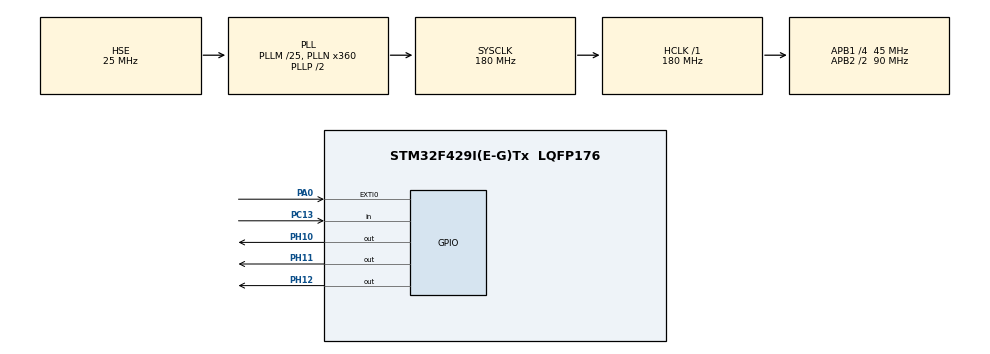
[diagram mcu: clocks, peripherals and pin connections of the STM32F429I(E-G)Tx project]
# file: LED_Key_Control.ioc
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Mcu.Family=STM32F4
Mcu.Name=STM32F429I(E-G)Tx
Mcu.Package=LQFP176
NVIC.EXTI0_IRQn=true\:0\:0\:false\:false\:true\:true\:true\:true
NVIC.PriorityGroup=NVIC_PRIORITYGROUP_4
PA0/WKUP.GPIO_PuPd=GPIO_PULLDOWN
PA0/WKUP.Signal=GPXTI0
PA13.Mode=Serial_Wire
PA13.Signal=SYS_JTMS-SWDIO
PA14.Mode=Serial_Wire
PA14.Signal=SYS_JTCK-SWCLK
PC13.GPIO_PuPd=GPIO_PULLDOWN
PC13.Signal=GPIO_Input
PH0/OSC_IN.Mode=HSE-External-Oscillator
PH0/OSC_IN.Signal=RCC_OSC_IN
PH1/OSC_OUT.Mode=HSE-External-Oscillator
PH1/OSC_OUT.Signal=RCC_OSC_OUT
PH10.PinState=GPIO_PIN_SET
PH10.Signal=GPIO_Output
PH11.PinState=GPIO_PIN_SET
PH11.Signal=GPIO_Output
PH12.PinState=GPIO_PIN_SET
PH12.Signal=GPIO_Output
ProjectManager.HeapSize=0x200
ProjectManager.StackSize=0x400
ProjectManager.TargetToolchain=MDK-ARM V5.32
RCC.48MHZClocksFreq_Value=90000000
RCC.AHBFreq_Value=180000000
RCC.APB1CLKDivider=RCC_HCLK_DIV4
RCC.APB1Freq_Value=45000000
RCC.APB1TimFreq_Value=90000000
RCC.APB2CLKDivider=RCC_HCLK_DIV2
RCC.APB2Freq_Value=90000000
RCC.APB2TimFreq_Value=180000000
RCC.CortexFreq_Value=180000000
RCC.HCLKFreq_Value=180000000
RCC.HSE_VALUE=25000000
RCC.HSI_VALUE=16000000
RCC.LSE_VALUE=32768
RCC.PLLM=25
RCC.PLLN=360
RCC.PLLSourceVirtual=RCC_PLLSOURCE_HSE
RCC.SYSCLKFreq_VALUE=180000000
RCC.SYSCLKSource=RCC_SYSCLKSOURCE_PLLCLK
RCC.VCOOutputFreq_Value=360000000
board=custom

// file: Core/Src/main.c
/* USER CODE BEGIN Header */
/**
 ******************************************************************************
 * @file           : main.c
 * @brief          : Main program body
 ******************************************************************************
 * @attention
 *
 * Copyright (c) 2026 STMicroelectronics.
 * All rights reserved.
 *
 * This software is licensed under terms that can be found in the LICENSE file
 * in the root directory of this software component.
 * If no LICENSE file comes with this software, it is provided AS-IS.
 *
 ******************************************************************************
 */
/* USER CODE END Header */
#include "main.h"

/* USER CODE BEGIN PV */
volatile uint32_t exti_cnt = 0; /* 外部中断计数 */
volatile uint8_t paused = 0;

/* ---- LED 引脚定义（共阳极：输出低=亮，输出高=灭） ---- */
#define LED_R_Pin GPIO_PIN_10
#define LED_R_Port GPIOH
#define LED_G_Pin GPIO_PIN_11
#define LED_G_Port GPIOH
#define LED_B_Pin GPIO_PIN_12
#define LED_B_Port GPIOH

/* ---- 按键定义（KEY1 = PA0，按下读回 1） ---- */
#define KEY1_Port GPIOA
#define KEY1_Pin GPIO_PIN_0

/* ---- 按键扫描状态 ---- */
// uint8_t  key_state = 0;   /* 0=等待按下  1=消抖计时  2=等待松开 */
// uint32_t key_tick  = 0;   /* 消抖计时用的时刻 */
/*-----暂停指示符定义-----*/
// uint8_t paused = 0;
/* USER CODE END PV */

void SystemClock_Config(void);
static void MX_GPIO_Init(void);

/* USER CODE BEGIN 0 */

/* 三盏灯全灭（共阳极：引脚拉高 = 灭） */
void LED_AllOff(void) {
    GPIOH->BSRR = (1u << 10) | (1u << 11) | (1u << 12);
}

/* 按键扫描：轮询 + 软件消抖（不阻塞主循环） */
// void Key_Scan(void)
//{
//     uint8_t now = HAL_GPIO_ReadPin(KEY1_Port, KEY1_Pin);

//    if (key_state == 0) {                 /* 等待按下 */
//        if (now == 1) {
//            key_state = 1;
//            key_tick  = HAL_GetTick();
//        }
//    }
//    else if (key_state == 1) {            /* 消抖计时 */
//        if (HAL_GetTick() - key_tick > 20) {
//            if (now == 1) {               /* 确认按下：这里才是"按键动作" */
//                key_state = 2;
//							paused = !paused;           /*改变“暂停指示符”*/

//            } else {
//                key_state = 0;            /* 是抖动，忽略 */
//            }
//        }
//    }
//    else if (key_state == 2) {            /* 等待松开 */
//        if (now == 0) key_state = 0;
//    }
//}

/* USER CODE END 0 */

int main(void) {

    /* USER CODE BEGIN 1 */
    uint32_t last_change = 0; /* 上次换色的时刻 (ms) */
    uint8_t step = 0;         /* 当前颜色: 0=红 1=绿 2=蓝 */
    /* USER CODE END 1 */

    /* MCU Configuration--------------------------------------------------------*/

    /* Reset of all peripherals, Initializes the Flash interface and the Systick. */
    HAL_Init();

    /* Configure the system clock */
    SystemClock_Config();

    /* Initialize all configured peripherals */
    MX_GPIO_Init();
    /* USER CODE BEGIN 2 */

    LED_AllOff(); /* 开机先全灭 */

    /* USER CODE END 2 */

    /* Infinite loop */
    while (1) {

        /* USER CODE BEGIN 3 */
        /* 非阻塞换色：每 1000ms 换一次 */
        if (paused) {
            last_change = HAL_GetTick();
        } else if (HAL_GetTick() - last_change >= 1000) {
            last_change = HAL_GetTick();
            step++;
            if (step >= 3)
                step = 0;

            switch (step) {
            case 0:
                GPIOH->BSRR = (1u << (10 + 16)) | (1u << (11)) | (1u << (12));
                break; /* 红 */
            case 1:
                GPIOH->BSRR = (1u << (10)) | (1u << (11 + 16)) | (1u << (12));
                break; /* 绿 */
            case 2:
                GPIOH->BSRR = (1u << (10)) | (1u << (11)) | (1u << (12 + 16));
                break; /* 蓝 */
            }
        }

        /* 控制"暂停" */
        //     Key_Scan();
    }

    /* USER CODE END 3 */
}

void SystemClock_Config(void) {
    RCC_OscInitTypeDef RCC_OscInitStruct = {0};
    RCC_ClkInitTypeDef RCC_ClkInitStruct = {0};

    /** Configure the main internal regulator output voltage
     */
    __HAL_RCC_PWR_CLK_ENABLE();
    __HAL_PWR_VOLTAGESCALING_CONFIG(PWR_REGULATOR_VOLTAGE_SCALE1);

    /** Initializes the RCC Oscillators according to the specified parameters
     * in the RCC_OscInitTypeDef structure.
     */
    RCC_OscInitStruct.OscillatorType = RCC_OSCILLATORTYPE_HSE;
    RCC_OscInitStruct.HSEState = RCC_HSE_ON;
    RCC_OscInitStruct.PLL.PLLState = RCC_PLL_ON;
    RCC_OscInitStruct.PLL.PLLSource = RCC_PLLSOURCE_HSE;
    RCC_OscInitStruct.PLL.PLLM = 25;
    RCC_OscInitStruct.PLL.PLLN = 360;
    RCC_OscInitStruct.PLL.PLLP = RCC_PLLP_DIV2;
    RCC_OscInitStruct.PLL.PLLQ = 4;
    if (HAL_RCC_OscConfig(&RCC_OscInitStruct) != HAL_OK) {
        Error_Handler();
    }

    /** Activate the Over-Drive mode
     */
    if (HAL_PWREx_EnableOverDrive() != HAL_OK) {
        Error_Handler();
    }

    /** Initializes the CPU, AHB and APB buses clocks
     */
    RCC_ClkInitStruct.ClockType = RCC_CLOCKTYPE_HCLK | RCC_CLOCKTYPE_SYSCLK | RCC_CLOCKTYPE_PCLK1 | RCC_CLOCKTYPE_PCLK2;
    RCC_ClkInitStruct.SYSCLKSource = RCC_SYSCLKSOURCE_PLLCLK;
    RCC_ClkInitStruct.AHBCLKDivider = RCC_SYSCLK_DIV1;
    RCC_ClkInitStruct.APB1CLKDivider = RCC_HCLK_DIV4;
    RCC_ClkInitStruct.APB2CLKDivider = RCC_HCLK_DIV2;

    if (HAL_RCC_ClockConfig(&RCC_ClkInitStruct, FLASH_LATENCY_5) != HAL_OK) {
        Error_Handler();
    }
}

static void MX_GPIO_Init(void) {
    GPIO_InitTypeDef GPIO_InitStruct = {0};

    /* GPIO Ports Clock Enable */
    __HAL_RCC_GPIOC_CLK_ENABLE();
    __HAL_RCC_GPIOH_CLK_ENABLE();
    __HAL_RCC_GPIOA_CLK_ENABLE();

    /*Configure GPIO pin Output Level */
    HAL_GPIO_WritePin(GPIOH, GPIO_PIN_10 | GPIO_PIN_11 | GPIO_PIN_12, GPIO_PIN_SET);

    /*Configure GPIO pin : PC13 */
    GPIO_InitStruct.Pin = GPIO_PIN_13;
    GPIO_InitStruct.Mode = GPIO_MODE_INPUT;
    GPIO_InitStruct.Pull = GPIO_PULLDOWN;
    HAL_GPIO_Init(GPIOC, &GPIO_InitStruct);

    /*Configure GPIO pin : PA0 */
    GPIO_InitStruct.Pin = GPIO_PIN_0;
    GPIO_InitStruct.Mode = GPIO_MODE_IT_RISING;
    GPIO_InitStruct.Pull = GPIO_PULLDOWN;
    HAL_GPIO_Init(GPIOA, &GPIO_InitStruct);

    /*Configure GPIO pins : PH10 PH11 PH12 */
    GPIO_InitStruct.Pin = GPIO_PIN_10 | GPIO_PIN_11 | GPIO_PIN_12;
    GPIO_InitStruct.Mode = GPIO_MODE_OUTPUT_PP;
    GPIO_InitStruct.Pull = GPIO_NOPULL;
    GPIO_InitStruct.Speed = GPIO_SPEED_FREQ_LOW;
    HAL_GPIO_Init(GPIOH, &GPIO_InitStruct);

    /* EXTI interrupt init*/
    HAL_NVIC_SetPriority(EXTI0_IRQn, 0, 0);
    HAL_NVIC_EnableIRQ(EXTI0_IRQn);

}

/* USER CODE BEGIN 4 */
void HAL_GPIO_EXTI_Callback(uint16_t GPIO_Pin) {
    if (GPIO_Pin == GPIO_PIN_0) {
        exti_cnt++;
        paused = !paused; /* 按键动作搬进中断 */
    }
}

/* USER CODE END 4 */

void Error_Handler(void) {
    __disable_irq();
    while (1) {
    }
}
